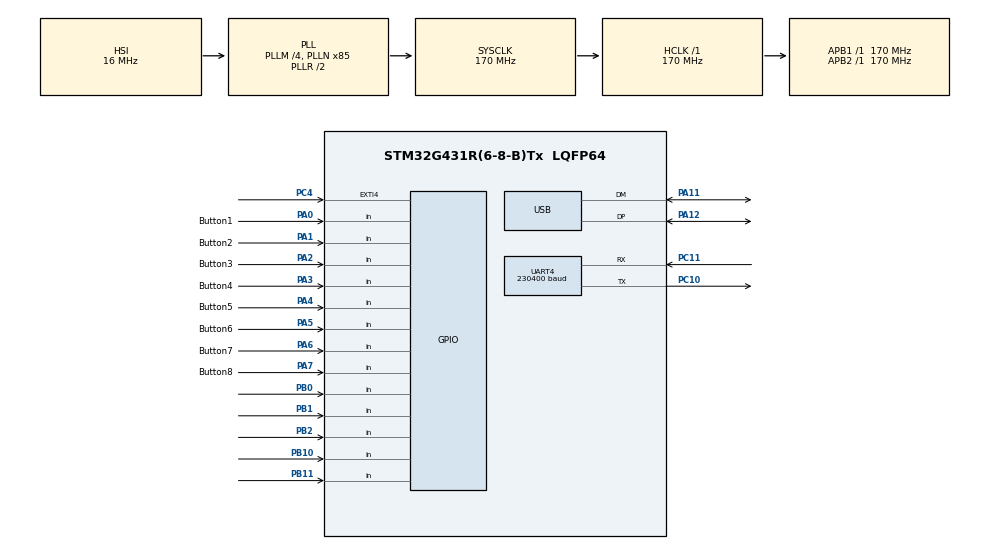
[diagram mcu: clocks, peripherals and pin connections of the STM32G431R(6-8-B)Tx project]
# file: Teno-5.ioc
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AL94.I-CUBE-USBD-COMPOSITE.1.0.3.CompositeCcUSBJjCOMPOSITEJjCDCIiACM=true
AL94.I-CUBE-USBD-COMPOSITE.1.0.3.CompositeCcUSBJjCOMPOSITEJjCOMPOSITE=true
AL94.I-CUBE-USBD-COMPOSITE.1.0.3.CompositeCcUSBJjCOMPOSITEJjCore=true
AL94.I-CUBE-USBD-COMPOSITE.1.0.3.CompositeCcUSBJjCOMPOSITEJjHIDIiKEYBOARD=true
AL94.I-CUBE-USBD-COMPOSITE.1.0.3._STM32F1_DEVICE=true
AL94.I-CUBE-USBD-COMPOSITE.1.0.3._USBD_USE_CDC_ACM=true
AL94.I-CUBE-USBD-COMPOSITE.1.0.3._USBD_USE_HID_KEYBOARD=true
Dma.Request0=UART4_RX
Dma.UART4_RX.0.Direction=DMA_PERIPH_TO_MEMORY
Dma.UART4_RX.0.EventEnable=DISABLE
Dma.UART4_RX.0.Instance=DMA1_Channel1
Dma.UART4_RX.0.MemDataAlignment=DMA_MDATAALIGN_BYTE
Dma.UART4_RX.0.MemInc=DMA_MINC_ENABLE
Dma.UART4_RX.0.Mode=DMA_CIRCULAR
Dma.UART4_RX.0.PeriphDataAlignment=DMA_PDATAALIGN_BYTE
Dma.UART4_RX.0.PeriphInc=DMA_PINC_DISABLE
Dma.UART4_RX.0.Polarity=HAL_DMAMUX_REQ_GEN_RISING
Dma.UART4_RX.0.Priority=DMA_PRIORITY_LOW
Dma.UART4_RX.0.RequestNumber=1
Dma.UART4_RX.0.SignalID=NONE
Dma.UART4_RX.0.SyncEnable=DISABLE
Dma.UART4_RX.0.SyncPolarity=HAL_DMAMUX_SYNC_NO_EVENT
Dma.UART4_RX.0.SyncRequestNumber=1
Dma.UART4_RX.0.SyncSignalID=NONE
Mcu.Family=STM32G4
Mcu.Name=STM32G431R(6-8-B)Tx
Mcu.Package=LQFP64
NVIC.DMA1_Channel1_IRQn=true\:0\:0\:false\:false\:true\:false\:true\:true
NVIC.PriorityGroup=NVIC_PRIORITYGROUP_4
NVIC.UART4_IRQn=true\:0\:0\:false\:false\:true\:true\:true\:true
NVIC.USB_LP_IRQn=true\:0\:0\:false\:false\:true\:true\:true\:true
PA0.GPIO_Label=Button1
PA0.GPIO_PuPd=GPIO_PULLUP
PA0.Signal=GPIO_Input
PA1.GPIO_Label=Button2
PA1.GPIO_PuPd=GPIO_PULLUP
PA1.Signal=GPIO_Input
PA11.Mode=Device
PA11.Signal=USB_DM
PA12.Mode=Device
PA12.Signal=USB_DP
PA13.Mode=Serial_Wire
PA13.Signal=SYS_JTMS-SWDIO
PA14.Mode=Serial_Wire
PA14.Signal=SYS_JTCK-SWCLK
PA2.GPIO_Label=Button3
PA2.GPIO_PuPd=GPIO_PULLUP
PA2.Signal=GPIO_Input
PA3.GPIO_Label=Button4
PA3.GPIO_PuPd=GPIO_PULLUP
PA3.Signal=GPIO_Input
PA4.GPIO_Label=Button5
PA4.GPIO_PuPd=GPIO_PULLUP
PA4.Signal=GPIO_Input
PA5.GPIO_Label=Button6
PA5.GPIO_PuPd=GPIO_PULLUP
PA5.Signal=GPIO_Input
PA6.GPIO_Label=Button7
PA6.GPIO_PuPd=GPIO_PULLUP
PA6.Signal=GPIO_Input
PA7.GPIO_Label=Button8
PA7.GPIO_PuPd=GPIO_PULLUP
PA7.Signal=GPIO_Input
PB0.GPIO_PuPd=GPIO_PULLUP
PB0.Signal=GPIO_Input
PB1.GPIO_PuPd=GPIO_PULLUP
PB1.Signal=GPIO_Input
PB10.GPIO_PuPd=GPIO_PULLUP
PB10.Signal=GPIO_Input
PB11.GPIO_PuPd=GPIO_PULLUP
PB11.Signal=GPIO_Input
PB2.GPIO_PuPd=GPIO_PULLUP
PB2.Signal=GPIO_Input
PC10.Mode=Asynchronous
PC10.Signal=UART4_TX
PC11.Mode=Asynchronous
PC11.Signal=UART4_RX
PC4.GPIO_PuPd=GPIO_PULLUP
PC4.Signal=GPXTI4
PF0-OSC_IN.Mode=HSE-External-Oscillator
PF0-OSC_IN.Signal=RCC_OSC_IN
PF1-OSC_OUT.Mode=HSE-External-Oscillator
PF1-OSC_OUT.Signal=RCC_OSC_OUT
ProjectManager.HeapSize=0x1000
ProjectManager.StackSize=0x1000
ProjectManager.TargetToolchain=STM32CubeIDE
RCC.ADC12Freq_Value=170000000
RCC.AHBFreq_Value=170000000
RCC.APB1Freq_Value=170000000
RCC.APB1TimFreq_Value=170000000
RCC.APB2Freq_Value=170000000
RCC.APB2TimFreq_Value=170000000
RCC.CK48CLockSelection=RCC_USBCLKSOURCE_HSI48
RCC.CortexFreq_Value=170000000
RCC.EXTERNAL_CLOCK_VALUE=12288000
RCC.HCLKFreq_Value=170000000
RCC.HSE_VALUE=8000000
RCC.HSI48_VALUE=48000000
RCC.HSI_VALUE=16000000
RCC.LSE_VALUE=32768
RCC.PLLM=RCC_PLLM_DIV4
RCC.PLLN=85
RCC.SYSCLKFreq_VALUE=170000000
RCC.SYSCLKSource=RCC_SYSCLKSOURCE_PLLCLK
RCC.USBFreq_Value=48000000
RCC.VCOOutputFreq_Value=340000000
UART4.BaudRate=230400
VP_AL94.I-CUBE-USBD-COMPOSITE_VS_USBJjComposite_1.0.0_1.0.3.Mode=USBJjComposite
VP_SYS_VS_DBSignals.Mode=DisableDeadBatterySignals
board=custom

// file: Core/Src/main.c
/* USER CODE BEGIN Header */
/**
  ******************************************************************************
  * @file           : main.c
  * @brief          : Main program body
  ******************************************************************************
  * @attention
  *
  * Copyright (c) 2026 STMicroelectronics.
  * All rights reserved.
  *
  * This software is licensed under terms that can be found in the LICENSE file
  * in the root directory of this software component.
  * If no LICENSE file comes with this software, it is provided AS-IS.
  *
  ******************************************************************************
  */
/* USER CODE END Header */
#include "main.h"
#include "dma.h"
#include "usart.h"
#include "usb.h"
#include "gpio.h"

/* USER CODE BEGIN Includes */
#include "usb_device.h"
#include "usbd_hid_keyboard.h"
#include "touch_processor.h"
#include "teno_config.h"
/* USER CODE END Includes */

/* USER CODE BEGIN PV */
uint8_t uart_rx_buf[UART_RX_BUF_SIZE];
/* USER CODE END PV */

void SystemClock_Config(void);

/* USER CODE BEGIN 0 */
#include "usbd_composite.h"
#include <string.h>

extern USBD_HandleTypeDef hUsbDevice;

// 【修复2】：严格匹配描述符计算的 17 字节 (1 ID + 1 Modifiers + 1 Reserved + 14 Keys)
uint8_t hid_report[17] = {0};
uint8_t last_hid_report[17] = {0};

uint8_t pa_connected_mask = 0; // 仅记录 PA0-PA7 的连接状态

// PA0 - PA7 的主键码
const uint8_t PA_KEYCODE_MAP[8] = {
    0x1A, 0x08, 0x07, 0x06, 0x1B, 0x1D, 0x04, 0x14
};

void Keyboard_Init(void)
{
    // 延时 100ms 等待上电后电容充电及电平完全稳定
    HAL_Delay(100);

    // 启动检测：PA0-PA7。未接入悬空时因内部上拉会读到高电平
    // 接入按键后被外围硬件拉低，读到低电平 (RESET) 才算作已连接
    for(int i = 0; i < 8; i++)
    {
        if(HAL_GPIO_ReadPin(GPIOA, (uint16_t)(1 << i)) == GPIO_PIN_RESET)
        {
            pa_connected_mask |= (1 << i);
        }
    }

    hid_report[0] = 0x01; // Report ID 固定为 1
}

void Keyboard_Scan_Task(void)
{
    static uint32_t last_scan_tick = 0;

    // 如果 USB 尚未与电脑握手成功，直接返回，防死锁
    if (hUsbDevice.dev_state != USBD_STATE_CONFIGURED) {
        return;
    }

    uint32_t current_tick = HAL_GetTick();
    // 1ms 轮询限制 (真1000Hz)，绝不阻塞主循环和 CDC 串口解析
    if (current_tick - last_scan_tick < 1) {
        return;
    }
    last_scan_tick = current_tick;

    // 清空按键数据区 (从索引 3 开始的 14 个字节)
    memset(&hid_report[3], 0, 14);
    uint8_t key_index = 3;

    // --- 1. 扫描 PA0-PA7 (游玩时高电平触发) ---
    uint16_t pa_state = GPIOA->IDR & 0x00FF; // 只取前8位，绝不碰 USB 引脚
    for(int i = 0; i < 8; i++)
    {
        if(pa_connected_mask & (1 << i))
        {
            if(pa_state & (1 << i)) // 触发
            {
                if (key_index < 17) hid_report[key_index++] = PA_KEYCODE_MAP[i];
            }
        }
    }

    // --- 2. 扫描 GPIOB 副按键 (根据你的 gpio.c，这几个默认上拉，按下接地触发即低电平) ---
    // 副键码使用: 0x15(R), 0x17(T), 0x1C(Y), 0x18(U), 0x28(Enter)
    uint16_t pb_state = GPIOB->IDR;
    if(!(pb_state & GPIO_PIN_0))  { if (key_index < 17) hid_report[key_index++] = 0x15; }
    if(!(pb_state & GPIO_PIN_1))  { if (key_index < 17) hid_report[key_index++] = 0x17; }
    if(!(pb_state & GPIO_PIN_2))  { if (key_index < 17) hid_report[key_index++] = 0x1C; }
    if(!(pb_state & GPIO_PIN_10)) { if (key_index < 17) hid_report[key_index++] = 0x18; }
    if(!(pb_state & GPIO_PIN_11)) { if (key_index < 17) hid_report[key_index++] = 0x28; }

    // --- 3. 极速状态比对与发送 ---
    // 只有在按下或松开的瞬间发送一包，彻底释放带宽，12键无冲拉满
    if (memcmp(hid_report, last_hid_report, 17) != 0)
    {
        if (USBD_HID_Keybaord_SendReport(&hUsbDevice, hid_report, 17) == USBD_OK)
        {
            memcpy(last_hid_report, hid_report, 17);
        }
    }
}
/* USER CODE END 0 */

int main(void)
{

  /* MCU Configuration--------------------------------------------------------*/

  /* Reset of all peripherals, Initializes the Flash interface and the Systick. */
  HAL_Init();

  /* Configure the system clock */
  SystemClock_Config();

  /* Initialize all configured peripherals */
  MX_GPIO_Init();
  MX_DMA_Init();
  MX_USB_PCD_Init();
  MX_UART4_Init();

  /* USER CODE BEGIN 2 */

  // [新增] 1. 优先加载Flash配置
    Config_Init();
    TouchProcessor_Init();
    Keyboard_Init(); // <--- 放在这里

  MX_USB_DEVICE_Init();

  // 【修改这里】：使用扩展函数开启接收，它会自动开启空闲中断(IDLE IT)
    if (HAL_UARTEx_ReceiveToIdle_DMA(&huart4, uart_rx_buf, UART_RX_BUF_SIZE) != HAL_OK) {
        Error_Handler();
    }
    /* 建议关闭半传输中断(Half Transfer)，否则数据接收过半时会触发额外中断导致错乱 */
    __HAL_DMA_DISABLE_IT(huart4.hdmarx, DMA_IT_HT);
  /* USER CODE END 2 */

  /* Infinite loop */
  /* USER CODE BEGIN WHILE */
    while (1)
      {
          Keyboard_Scan_Task();
          TouchProcessor_Task();

          if (g_ConfigReplyCmd != 0) {
                    if (g_ConfigReplyCmd == 1) {
                        Config_SendToPC();
                    } else if (g_ConfigReplyCmd == 3) {
                        // 【修复点】：加上 static
                        static uint8_t ack[] = {0x5A, 0xA5, 0x03, 0x00, 0x00, 0xFF, 0xFF, 0xED, 0xDE};
                        CDC_Transmit(0, ack, 9);
                    } else if (g_ConfigReplyCmd == 4) {
                        // 【修复点】：加上 static
                        static uint8_t nack[] = {0x5A, 0xA5, 0x04, 0x00, 0x00, 0xFF, 0xFF, 0xED, 0xDE};
                        CDC_Transmit(0, nack, 9);
                    }
                    g_ConfigReplyCmd = 0; // 清除标志
                }
    /* USER CODE END WHILE */

  }
}

void SystemClock_Config(void)
{
  RCC_OscInitTypeDef RCC_OscInitStruct = {0};
  RCC_ClkInitTypeDef RCC_ClkInitStruct = {0};

  /** Configure the main internal regulator output voltage
  */
  HAL_PWREx_ControlVoltageScaling(PWR_REGULATOR_VOLTAGE_SCALE1_BOOST);

  /** Initializes the RCC Oscillators according to the specified parameters
  * in the RCC_OscInitTypeDef structure.
  */
  RCC_OscInitStruct.OscillatorType = RCC_OSCILLATORTYPE_HSI|RCC_OSCILLATORTYPE_HSI48;
  RCC_OscInitStruct.HSIState = RCC_HSI_ON;
  RCC_OscInitStruct.HSICalibrationValue = RCC_HSICALIBRATION_DEFAULT;
  RCC_OscInitStruct.HSI48State = RCC_HSI48_ON;
  RCC_OscInitStruct.PLL.PLLState = RCC_PLL_ON;
  RCC_OscInitStruct.PLL.PLLSource = RCC_PLLSOURCE_HSI;
  RCC_OscInitStruct.PLL.PLLM = RCC_PLLM_DIV4;
  RCC_OscInitStruct.PLL.PLLN = 85;
  RCC_OscInitStruct.PLL.PLLP = RCC_PLLP_DIV2;
  RCC_OscInitStruct.PLL.PLLQ = RCC_PLLQ_DIV2;
  RCC_OscInitStruct.PLL.PLLR = RCC_PLLR_DIV2;
  if (HAL_RCC_OscConfig(&RCC_OscInitStruct) != HAL_OK)
  {
    Error_Handler();
  }

  /** Initializes the CPU, AHB and APB buses clocks
  */
  RCC_ClkInitStruct.ClockType = RCC_CLOCKTYPE_HCLK|RCC_CLOCKTYPE_SYSCLK
                              |RCC_CLOCKTYPE_PCLK1|RCC_CLOCKTYPE_PCLK2;
  RCC_ClkInitStruct.SYSCLKSource = RCC_SYSCLKSOURCE_PLLCLK;
  RCC_ClkInitStruct.AHBCLKDivider = RCC_SYSCLK_DIV1;
  RCC_ClkInitStruct.APB1CLKDivider = RCC_HCLK_DIV1;
  RCC_ClkInitStruct.APB2CLKDivider = RCC_HCLK_DIV1;

  if (HAL_RCC_ClockConfig(&RCC_ClkInitStruct, FLASH_LATENCY_4) != HAL_OK)
  {
    Error_Handler();
  }
}

/* USER CODE BEGIN 4 */
/**
  * @brief  串口空闲中断回调函数 (由 HAL_UART_IRQHandler 自动调用)
  */
void HAL_UARTEx_RxEventCallback(UART_HandleTypeDef *huart, uint16_t Size)
{
    if (huart->Instance == UART4)
    {
        // 静态变量，用来记录上一次读取的绝对位置
        static uint16_t old_pos = 0;

        // Size 是 HAL 库算出的当前 DMA 写入指针在 buffer 中的绝对偏移量
        uint16_t curr_pos = Size;
        uint16_t len = 0;

        if (curr_pos > old_pos)
        {
            // DMA 指针正常向前推进，没有绕回
            len = curr_pos - old_pos;
            TouchProcessor_FeedData(&uart_rx_buf[old_pos], len);
        }
        else if (curr_pos < old_pos)
        {
            // 因为是 Circular 模式，DMA 指针到底部后绕回了头部
            // 1. 先把从老位置到 buffer 尾部的数据读完
            len = UART_RX_BUF_SIZE - old_pos;
            TouchProcessor_FeedData(&uart_rx_buf[old_pos], len);

            // 2. 再把绕回头部后产生的新数据读完
            if (curr_pos > 0) {
                TouchProcessor_FeedData(uart_rx_buf, curr_pos);
            }
        }
        // 如果 curr_pos == old_pos，说明没有新数据，不处理

        // 更新历史位置
        old_pos = curr_pos;

        // 【极其重要】：
        // 绝对不要调用 HAL_UART_DMAStop！
        // 绝对不要再次调用 HAL_UARTEx_ReceiveToIdle_DMA！
        // 因为 DMA 在 Circular 模式下一直在后台默默工作，你只需要去“追”它的写指针即可。
    }
}
/* USER CODE END 4 */

void Error_Handler(void)
{
  __disable_irq();
  while (1)
  {
  }
}
